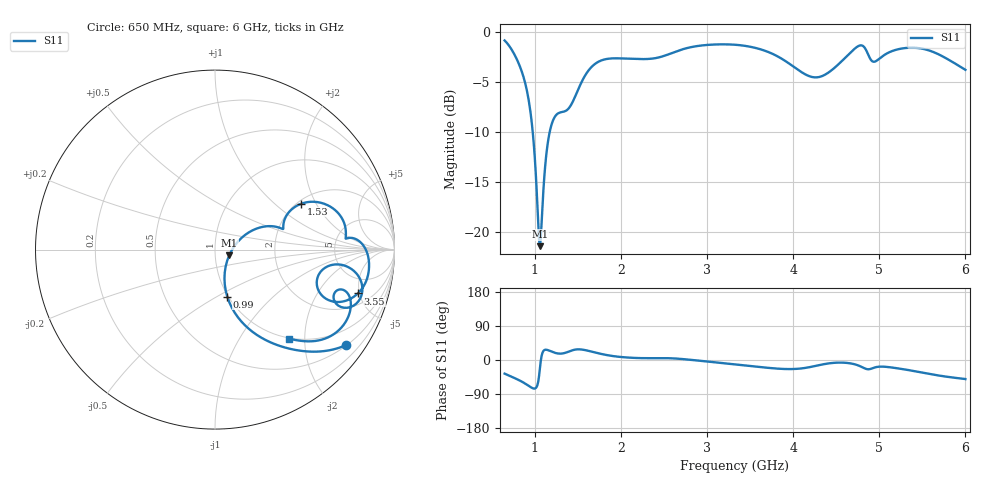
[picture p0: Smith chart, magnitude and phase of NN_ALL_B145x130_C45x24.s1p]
! IGNION VIRTUAL ANTENNA LIBRARY
! NN_ALL_B145x130_C45x24
! Virtual Antenna™ ALL mXTEND™: NN02-220 24.0 mm x 12.0 mm x 2.0 mm
! https://ignion.io/product/all-mxtend/
! Board: 145 mm x 130 mm
! Clearance Area: 45 mm x 24 mm
! Feeding line: straight line; 12mm x 2mm
! Applications: Smart meter, Routers/Repeaters
! Frequency range 0.65GHz to 6GHz, step 10MHz
! Number of ports 1
! This product and its use are protected by at least one or more of the following patents and
! patent applications PAT. US 9,130,259 B2; PAT. US 8,237,615 B2; and other domestic and
! international patents pending.  Additional information about patents related to this product
! is available at https://ignion.io/files/Patent-list-NN.pdf, all rights reserved. Copyright, Ignion 2021.
! Need more help? Your platform is much different than these examples in the manual? Use our
! Fast Track service (https://ignion.io/fast-track/), for free, and get a personalized antenna design in
! just 24 hours.
! Touchstone port 1 = "Series Port"
! IE3D S-Parameters Output Version 2.0
# GHZ S MA R 50
! Nport = 1
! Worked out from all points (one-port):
!   536 points, 650 MHz to 6 GHz, reference 50 ohm
!   lowest |S11| = -21.4 dB at 1.06 GHz (marker M1), VSWR 1.19, Z = 58.5 - j3.71 ohm
!   |S11| at or under -10 dB: 976.2 MHz to 1.174 GHz (197.4 MHz wide, 18.4 % of centre)
!   S11 on the Smith chart (normalised r, x): 650 MHz: 0.52, -3.00; 990 MHz: 0.99, -0.56; 1.53 GHz: 2.10, +1.53; 3.55 GHz: 3.03, -4.82; 6 GHz: 0.99, -1.68
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0.65  0.9042 -36.0
0.77  0.7612 -48.1
0.88  0.5734 -61.0
0.94  0.4274 -69.8
0.99  0.2709 -75.4
1.04  0.1111 -57.6
1.06  0.0854 -21.6
1.08  0.1123 11.4
1.13  0.2348 27.2
1.17  0.311 24.6
1.32  0.3982 17.2
1.53  0.5452 28.0
1.74  0.7085 17.6
1.99  0.7362 8.2
2.66  0.8024 3.5
3.33  0.8605 -11.7
3.55  0.8325 -17.1
4  0.6718 -23.8
4.3  0.5944 -13.6
4.51  0.6779 -7.0
4.67  0.7901 -9.1
4.77  0.8524 -15.6
4.84  0.8201 -23.0
4.91  0.7179 -22.8
5.02  0.7447 -17.4
5.34  0.8313 -26.7
5.66  0.7813 -39.8
6  0.6456 -50.3
